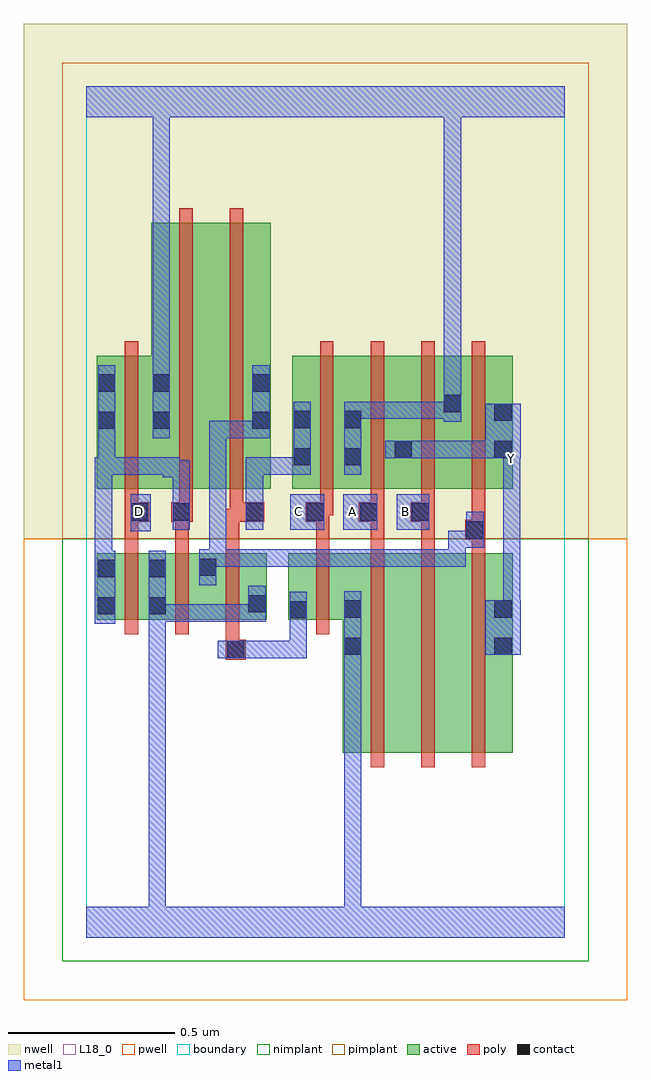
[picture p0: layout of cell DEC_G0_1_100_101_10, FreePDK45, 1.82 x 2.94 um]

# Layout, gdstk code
import gdstk
lib = gdstk.Library(unit=1e-6, precision=1e-09)
def R(c, l, rs):  # rectangles x0, y0, x1, y1
    for r in rs: c.add(gdstk.rectangle(r[:2], r[2:], *l))
def A(c, l, x, y, w, h, nx, ny, dx, dy):  # array of equal rectangles
    R(c, l, [(x+i*dx, y+j*dy, x+i*dx+w, y+j*dy+h) for i in range(nx) for j in range(ny)])
active = (1, 0)
pwell = (2, 0)
nwell = (3, 0)
nimplant = (4, 0)
pimplant = (5, 0)
poly = (9, 0)
contact = (10, 0)
metal1 = (11, 0)
L18_0 = (18, 0)
boundary = (235, 0)

dec_g0_1_100_101_10 = lib.new_cell('DEC_G0_1_100_101_10')
A(dec_g0_1_100_101_10, active, 0.032, 0.956, 0.06, 0.2, 3, 1, 0.152, 0)
A(dec_g0_1_100_101_10, active, 0.62, 1.35, 0.06, 0.294, 3, 1, 0.152, 0)
R(dec_g0_1_100_101_10, active, [(0.772,0.556,0.832,1.156), (0.772,0.556,0.952,1.156), (0.952,0.556,1.104,1.156), (1.104,0.556,1.284,1.156), (1.224,0.556,1.284,1.156), (0.032,0.956,0.244,1.156), (0.184,0.956,0.396,1.156), (0.336,0.956,0.544,1.156), (0.484,0.956,0.544,1.156), (0.608,0.956,0.832,1.156), (0.608,0.956,0.668,1.156), (0.032,1.35,0.092,1.698), (0.032,1.35,0.256,1.75), (0.196,1.35,0.376,2.15), (0.196,1.35,0.256,1.698), (0.376,1.35,0.556,2.15), (0.496,1.35,0.556,2.044), (0.62,1.35,0.832,1.75), (0.772,1.35,0.984,1.75), (0.924,1.35,1.132,1.75), (1.072,1.35,1.284,1.75), (1.072,1.35,1.132,1.644), (1.224,1.35,1.284,1.75)])
R(dec_g0_1_100_101_10, pwell, [(-0.188,-0.188,1.628,1.2)])
R(dec_g0_1_100_101_10, nwell, [(-0.188,1.2,1.628,2.748)])
R(dec_g0_1_100_101_10, nimplant, [(-0.072,-0.072,1.512,1.2)])
R(dec_g0_1_100_101_10, pimplant, [(-0.072,1.2,1.512,2.632)])
A(dec_g0_1_100_101_10, poly, 0.856, 0.512, 0.04, 0.688, 3, 1, 0.152, 0)
A(dec_g0_1_100_101_10, poly, 0.116, 0.912, 0.04, 0.288, 3, 1, 0.152, 0)
A(dec_g0_1_100_101_10, poly, 0.116, 1.16, 0.04, 0.13, 3, 1, 0.152, 0)
A(dec_g0_1_100_101_10, poly, 0.704, 1.27, 0.04, 0.076, 3, 1, 0.152, 0)
A(dec_g0_1_100_101_10, poly, 0.704, 1.306, 0.04, 0.488, 4, 1, 0.152, 0)
R(dec_g0_1_100_101_10, poly, [(0.42,0.836,0.48,0.896), (0.42,0.856,0.46,0.952), (0.692,0.912,0.732,1.2), (0.692,1.16,0.732,1.29), (0.856,1.16,0.896,1.29), (1.008,1.16,1.048,1.29), (1.16,1.16,1.2,1.236), (1.14,1.196,1.2,1.256), (1.16,1.216,1.2,1.346), (1.16,1.216,1.2,1.256), (1.16,1.216,1.2,1.256), (0.116,1.25,0.19,1.31), (0.256,1.25,0.32,1.31), (0.268,1.25,0.308,1.29), (0.268,1.25,0.308,1.29), (0.42,1.25,0.472,1.29), (0.432,1.25,0.472,1.29), (0.432,1.25,0.536,1.31), (0.66,1.25,0.732,1.31), (0.82,1.25,0.896,1.31), (0.856,1.25,0.896,1.29), (0.856,1.25,0.896,1.29), (0.976,1.25,1.048,1.31), (1.008,1.25,1.048,1.29), (1.008,1.25,1.048,1.29), (0.116,1.27,0.156,1.31), (0.116,1.27,0.156,1.31), (0.116,1.27,0.156,1.346), (0.28,1.27,0.32,1.346), (0.432,1.27,0.472,1.346), (0.692,1.27,0.732,1.31), (0.692,1.27,0.744,1.31), (0.116,1.306,0.156,1.794), (0.28,1.306,0.32,2.194), (0.432,1.306,0.472,2.194)])
R(dec_g0_1_100_101_10, contact, [(0.424,0.84,0.476,0.892), (0.776,0.85,0.828,0.902), (1.228,0.85,1.28,0.902), (0.612,0.96,0.664,1.012), (0.776,0.962,0.828,1.014), (1.228,0.962,1.28,1.014), (0.036,0.972,0.088,1.024), (0.188,0.972,0.24,1.024), (0.488,0.978,0.54,1.03), (0.036,1.084,0.088,1.136), (0.188,1.084,0.24,1.136), (0.34,1.088,0.392,1.14), (1.144,1.2,1.196,1.252), (0.134,1.254,0.186,1.306), (0.26,1.254,0.312,1.306), (0.48,1.254,0.532,1.306), (0.664,1.254,0.716,1.306), (0.824,1.254,0.876,1.306), (0.98,1.254,1.032,1.306), (0.624,1.42,0.676,1.472), (0.776,1.42,0.828,1.472), (0.928,1.442,0.98,1.494), (1.228,1.442,1.28,1.494), (0.036,1.53,0.088,1.582), (0.2,1.53,0.252,1.582), (0.5,1.53,0.552,1.582), (0.624,1.532,0.676,1.584), (0.776,1.532,0.828,1.584), (1.228,1.554,1.28,1.606), (1.076,1.58,1.128,1.632), (0.036,1.642,0.088,1.694), (0.2,1.642,0.252,1.694), (0.5,1.642,0.552,1.694)])
R(dec_g0_1_100_101_10, metal1, [(0,0,1.44,0.092), (0.188,0.04,0.24,0.092), (0.188,0.04,0.24,0.092), (0.188,0.04,0.24,0.092), (0.188,0.04,0.24,0.092), (0.188,0.04,0.24,0.092), (0.188,0.04,0.24,0.092), (0.188,0.04,0.24,0.092), (0.188,0.04,0.24,0.092), (0.188,0.04,0.24,0.092), (0.188,0.04,0.24,0.092), (0.188,0.04,0.24,0.996), (0.776,0.04,0.828,0.874), (0.776,0.822,0.828,0.874), (0.776,0.822,0.828,0.874), (0.776,0.822,0.828,0.874), (0.776,0.822,0.828,0.874), (0.776,0.822,0.828,0.874), (0.776,0.822,0.828,0.874), (0.776,0.822,0.828,0.874), (0.776,0.822,0.828,0.874), (0.776,0.822,0.828,1.042), (0.396,0.84,0.504,0.892), (0.452,0.84,0.532,0.892), (0.48,0.84,0.532,0.892), (0.48,0.84,0.664,0.892), (0.612,0.84,0.664,0.892), (0.612,0.84,0.664,0.984), (1.2,0.85,1.308,1.014), (0.612,0.932,0.664,1.04), (0.026,0.944,0.088,1.164), (0.188,0.944,0.24,0.996), (0.188,0.944,0.24,0.996), (0.188,0.944,0.24,0.996), (0.188,0.944,0.24,0.996), (0.188,0.944,0.24,0.996), (0.188,0.944,0.24,0.996), (0.188,0.944,0.24,1.164), (0.188,0.95,0.24,1.002), (0.188,0.95,0.24,1.002), (0.188,0.95,0.422,1.002), (0.37,0.95,0.422,1.002), (0.37,0.95,0.422,1.002), (0.37,0.95,0.422,1.002), (0.37,0.95,0.54,1.002), (0.488,0.95,0.54,1.058), (1.254,0.962,1.306,1.438), (0.34,1.06,0.392,1.168), (0.026,1.112,0.078,1.444), (0.34,1.116,0.392,1.168), (0.34,1.116,0.554,1.168), (0.34,1.116,0.422,1.168), (0.37,1.116,0.422,1.554), (0.502,1.116,0.554,1.168), (0.502,1.116,0.554,1.168), (0.502,1.116,0.554,1.168), (0.502,1.116,0.716,1.168), (0.664,1.116,0.716,1.168), (0.664,1.116,0.716,1.168), (0.664,1.116,0.716,1.168), (0.664,1.116,0.826,1.168), (0.774,1.116,0.826,1.168), (0.774,1.116,0.826,1.168), (0.774,1.116,0.826,1.168), (0.774,1.116,1.018,1.168), (0.966,1.116,1.018,1.168), (0.966,1.116,1.018,1.168), (0.966,1.116,1.018,1.168), (0.966,1.116,1.018,1.168), (0.966,1.116,1.018,1.168), (0.966,1.116,1.142,1.168), (1.09,1.116,1.142,1.224), (1.09,1.172,1.196,1.224), (1.144,1.172,1.196,1.28), (0.134,1.222,0.194,1.334), (0.26,1.226,0.312,1.436), (0.48,1.226,0.532,1.334), (0.614,1.226,0.716,1.334), (0.774,1.226,0.876,1.334), (0.934,1.226,1.032,1.334), (0.48,1.282,0.532,1.334), (0.48,1.282,0.532,1.444), (0.23,1.384,0.312,1.436), (0.23,1.384,0.282,1.444), (1.254,1.386,1.306,1.494), (0.026,1.392,0.078,1.444), (0.026,1.392,0.078,1.444), (0.026,1.392,0.088,1.444), (0.036,1.392,0.088,1.444), (0.036,1.392,0.088,1.444), (0.036,1.392,0.088,1.554), (0.036,1.392,0.282,1.444), (0.48,1.392,0.676,1.444), (0.624,1.392,0.676,1.444), (0.624,1.392,0.676,1.444), (0.624,1.392,0.676,1.612), (0.776,1.392,0.828,1.612), (0.9,1.442,1.008,1.494), (0.956,1.442,1.008,1.494), (0.956,1.442,1.008,1.494), (0.956,1.442,1.142,1.494), (1.09,1.442,1.142,1.494), (1.09,1.442,1.252,1.494), (1.2,1.442,1.252,1.494), (1.2,1.442,1.252,1.494), (1.2,1.442,1.308,1.606), (1.254,1.442,1.306,1.494), (1.254,1.442,1.306,1.494), (1.254,1.442,1.306,1.494), (0.036,1.502,0.088,1.722), (0.2,1.502,0.252,1.722), (0.37,1.502,0.422,1.554), (0.37,1.502,0.422,1.554), (0.37,1.502,0.422,1.554), (0.37,1.502,0.552,1.554), (0.5,1.502,0.552,1.554), (0.5,1.502,0.552,1.554), (0.5,1.502,0.552,1.722), (1.076,1.552,1.128,1.66), (0.776,1.56,0.828,1.612), (0.776,1.56,0.828,1.612), (0.776,1.56,0.938,1.612), (0.886,1.56,0.938,1.612), (0.886,1.56,0.938,1.612), (0.886,1.56,0.938,1.612), (0.886,1.56,1.128,1.612), (1.076,1.608,1.128,1.66), (1.076,1.608,1.128,1.66), (1.076,1.608,1.128,1.66), (1.076,1.608,1.128,1.66), (1.076,1.608,1.128,1.66), (1.076,1.608,1.128,1.66), (1.076,1.608,1.128,1.66), (1.076,1.608,1.128,1.66), (1.076,1.608,1.128,1.66), (1.076,1.608,1.128,1.66), (1.076,1.608,1.128,1.66), (1.076,1.608,1.128,1.66), (1.076,1.608,1.128,2.52), (0.2,1.67,0.252,1.722), (0.2,1.67,0.252,1.722), (0.2,1.67,0.252,1.722), (0.2,1.67,0.252,1.722), (0.2,1.67,0.252,1.722), (0.2,1.67,0.252,1.722), (0.2,1.67,0.252,1.722), (0.2,1.67,0.252,1.722), (0.2,1.67,0.252,2.52), (0,2.468,1.44,2.56), (1.076,2.468,1.128,2.52), (1.076,2.468,1.128,2.52), (1.076,2.468,1.128,2.52), (1.076,2.468,1.128,2.52)])
A(dec_g0_1_100_101_10, L18_0, 0.614, 1.254, 0.052, 0.052, 3, 1, 0.16, 0)
R(dec_g0_1_100_101_10, L18_0, [(0,0,1.44,0.092), (0.188,0.04,0.24,0.092), (0.188,0.04,0.24,0.092), (0.188,0.04,0.24,0.092), (0.188,0.04,0.24,0.092), (0.188,0.04,0.24,0.092), (0.188,0.04,0.24,0.092), (0.188,0.04,0.24,0.092), (0.188,0.04,0.24,0.092), (0.188,0.04,0.24,0.092), (0.188,0.04,0.24,0.092), (0.188,0.04,0.24,0.996), (0.776,0.04,0.828,0.874), (0.776,0.822,0.828,0.874), (0.776,0.822,0.828,0.874), (0.776,0.822,0.828,0.874), (0.776,0.822,0.828,0.874), (0.776,0.822,0.828,0.874), (0.776,0.822,0.828,0.874), (0.776,0.822,0.828,0.874), (0.776,0.822,0.828,0.874), (0.776,0.822,0.828,1.042), (1.2,0.85,1.308,1.014), (0.188,0.944,0.24,0.996), (0.188,0.944,0.24,0.996), (0.188,0.944,0.24,0.996), (0.188,0.944,0.24,0.996), (0.188,0.944,0.24,0.996), (0.188,0.944,0.24,0.996), (0.188,0.944,0.24,1.164), (0.188,0.95,0.24,1.002), (0.188,0.95,0.24,1.002), (0.188,0.95,0.422,1.002), (0.37,0.95,0.422,1.002), (0.37,0.95,0.422,1.002), (0.37,0.95,0.422,1.002), (0.37,0.95,0.54,1.002), (0.488,0.95,0.54,1.058), (1.254,0.962,1.306,1.438), (0.134,1.222,0.194,1.334), (0.614,1.226,0.716,1.334), (0.774,1.226,0.876,1.334), (0.934,1.226,1.032,1.334), (0.134,1.254,0.186,1.306), (1.254,1.386,1.306,1.494), (0.776,1.392,0.828,1.612), (1.254,1.414,1.306,1.466), (0.9,1.442,1.008,1.494), (0.956,1.442,1.008,1.494), (0.956,1.442,1.008,1.494), (0.956,1.442,1.142,1.494), (1.09,1.442,1.142,1.494), (1.09,1.442,1.252,1.494), (1.2,1.442,1.252,1.494), (1.2,1.442,1.252,1.494), (1.2,1.442,1.308,1.606), (1.254,1.442,1.306,1.494), (1.254,1.442,1.306,1.494), (1.254,1.442,1.306,1.494), (0.2,1.502,0.252,1.722), (1.076,1.552,1.128,1.66), (0.776,1.56,0.828,1.612), (0.776,1.56,0.828,1.612), (0.776,1.56,0.938,1.612), (0.886,1.56,0.938,1.612), (0.886,1.56,0.938,1.612), (0.886,1.56,0.938,1.612), (0.886,1.56,1.128,1.612), (1.076,1.608,1.128,1.66), (1.076,1.608,1.128,1.66), (1.076,1.608,1.128,1.66), (1.076,1.608,1.128,1.66), (1.076,1.608,1.128,1.66), (1.076,1.608,1.128,1.66), (1.076,1.608,1.128,1.66), (1.076,1.608,1.128,1.66), (1.076,1.608,1.128,1.66), (1.076,1.608,1.128,1.66), (1.076,1.608,1.128,1.66), (1.076,1.608,1.128,1.66), (1.076,1.608,1.128,2.52), (0.2,1.67,0.252,1.722), (0.2,1.67,0.252,1.722), (0.2,1.67,0.252,1.722), (0.2,1.67,0.252,1.722), (0.2,1.67,0.252,1.722), (0.2,1.67,0.252,1.722), (0.2,1.67,0.252,1.722), (0.2,1.67,0.252,1.722), (0.2,1.67,0.252,2.52), (0,2.468,1.44,2.56), (1.076,2.468,1.128,2.52), (1.076,2.468,1.128,2.52), (1.076,2.468,1.128,2.52), (1.076,2.468,1.128,2.52)])
R(dec_g0_1_100_101_10, boundary, [(0,0,1.44,2.56)])
dec_g0_1_100_101_10.add(gdstk.Label('A', (0.8,1.28), layer=11, texttype=0))
dec_g0_1_100_101_10.add(gdstk.Label('B', (0.96,1.28), layer=11, texttype=0))
dec_g0_1_100_101_10.add(gdstk.Label('C', (0.64,1.28), layer=11, texttype=0))
dec_g0_1_100_101_10.add(gdstk.Label('D', (0.16,1.28), layer=11, texttype=0))
dec_g0_1_100_101_10.add(gdstk.Label('Y', (1.28,1.44), layer=11, texttype=0))

lib.write_gds('DEC_G0_1_100_101_10.gds')
